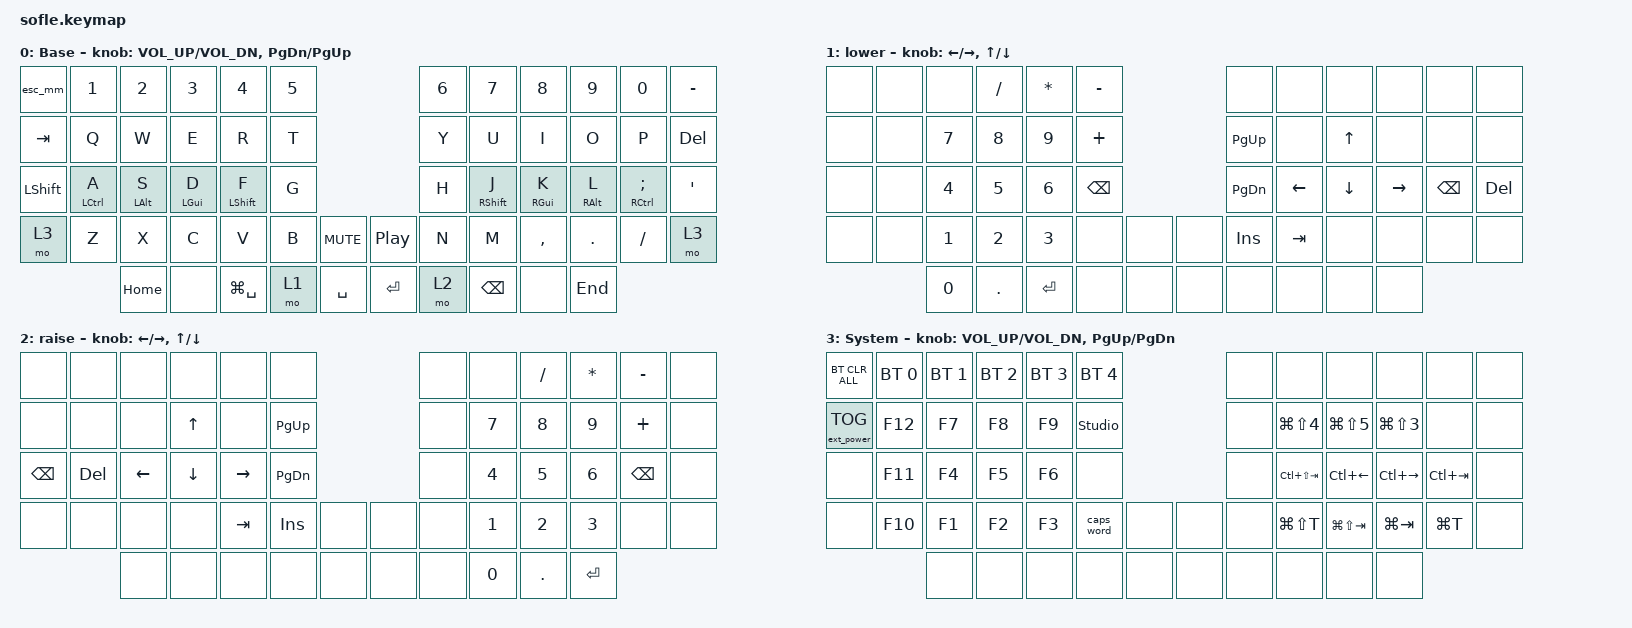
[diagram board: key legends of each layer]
/*
 * Copyright (c) 2020 The ZMK Contributors
 *
 * SPDX-License-Identifier: MIT
 */

#include <behaviors.dtsi>
#include <dt-bindings/zmk/bt.h>
#include <dt-bindings/zmk/ext_power.h>
#include <dt-bindings/zmk/keys.h>

#define BASE 0
#define LOWER 1
#define RAISE 2
#define ADJUST 3

/ {
    // Activate ADJUST layer by pressing raise and lower

    conditional_layers { compatible = "zmk,conditional-layers"; };

    combos {
        compatible = "zmk,combos";

        esc {
            bindings = <&kp ESCAPE>;
            key-positions = <14 15>;
            layers = <0>;
            require-prior-idle-ms = <50>;
        };

        tab {
            bindings = <&kp TAB>;
            key-positions = <26 27>;
            layers = <0>;
            require-prior-idle-ms = <50>;
        };

        at {
            bindings = <&kp AT_SIGN>;
            key-positions = <26 14>;
            layers = <0>;
            require-prior-idle-ms = <50>;
        };

        grave {
            bindings = <&kp GRAVE>;
            key-positions = <38 26>;
            require-prior-idle-ms = <50>;
            layers = <0>;
        };

        copy {
            bindings = <&kp LG(C)>;
            key-positions = <39 40>;
            require-prior-idle-ms = <50>;
            layers = <0>;
        };

        paste {
            bindings = <&kp LG(V)>;
            key-positions = <38 39>;
            layers = <0>;
            require-prior-idle-ms = <50>;
        };

        undo {
            bindings = <&kp LG(Z)>;
            key-positions = <37 38>;
            layers = <0>;
            require-prior-idle-ms = <50>;
        };

        backslash {
            bindings = <&kp BACKSLASH>;
            key-positions = <27 39>;
            require-prior-idle-ms = <50>;
            layers = <0>;
        };

        hash {
            bindings = <&kp HASH>;
            key-positions = <27 15>;
            require-prior-idle-ms = <50>;
            layers = <0>;
        };

        dollar {
            bindings = <&kp DOLLAR>;
            key-positions = <16 28>;
            require-prior-idle-ms = <50>;
            layers = <0>;
        };

        equal {
            bindings = <&kp EQUAL>;
            key-positions = <40 28>;
            require-prior-idle-ms = <50>;
            layers = <0>;
        };

        percent {
            bindings = <&kp PERCENT>;
            key-positions = <29 17>;
            require-prior-idle-ms = <50>;
            layers = <0>;
        };

        tilde {
            bindings = <&kp TILDE>;
            key-positions = <29 41>;
            require-prior-idle-ms = <50>;
            layers = <0>;
        };

        underscore {
            bindings = <&kp UNDERSCORE>;
            key-positions = <30 44>;
            require-prior-idle-ms = <50>;
            layers = <0>;
        };

        caret {
            bindings = <&kp CARET>;
            key-positions = <30 18>;
            require-prior-idle-ms = <50>;
            layers = <0>;
        };

        plus {
            bindings = <&kp PLUS>;
            key-positions = <19 31>;
            require-prior-idle-ms = <50>;
            layers = <0>;
        };

        minus {
            bindings = <&kp MINUS>;
            key-positions = <31 45>;
            require-prior-idle-ms = <50>;
            layers = <0>;
        };

        left_bracket {
            bindings = <&kp LEFT_BRACKET>;
            key-positions = <45 46>;
            require-prior-idle-ms = <50>;
            layers = <0>;
        };

        lpar_lt {
            bindings = <&lpar_lt>;
            key-positions = <31 32>;
            require-prior-idle-ms = <50>;
            layers = <0>;
        };

        bspc {
            bindings = <&kp BACKSPACE>;
            key-positions = <19 20>;
            require-prior-idle-ms = <50>;
            layers = <0>;
        };

        asterisk {
            bindings = <&kp ASTRK>;
            key-positions = <20 32>;
            require-prior-idle-ms = <50>;
            layers = <0>;
        };

        slash {
            bindings = <&kp SLASH>;
            key-positions = <32 46>;
            require-prior-idle-ms = <50>;
            layers = <0>;
        };

        rbracket {
            bindings = <&kp RIGHT_BRACKET>;
            key-positions = <46 47>;
            require-prior-idle-ms = <50>;
            layers = <0>;
        };

        rpar_gt {
            bindings = <&rpar_gt>;
            key-positions = <32 33>;
            require-prior-idle-ms = <50>;
            layers = <0>;
        };

        del {
            bindings = <&kp DEL>;
            key-positions = <20 21>;
            require-prior-idle-ms = <50>;
            layers = <0>;
        };

        amp {
            bindings = <&kp AMPERSAND>;
            key-positions = <21 33>;
            require-prior-idle-ms = <50>;
            layers = <0>;
        };

        pipe {
            bindings = <&kp PIPE>;
            key-positions = <33 47>;
            require-prior-idle-ms = <50>;
            layers = <0>;
        };

        all {
            bindings = <&kp LG(A)>;
            key-positions = <40 41>;
            require-prior-idle-ms = <50>;
            layers = <0>;
        };
    };

    behaviors {
        esc_mm: esc_mm {
            compatible = "zmk,behavior-mod-morph";
            label = "ESC_MM";
            bindings = <&kp ESCAPE>, <&mt TILDE GRAVE>;

            #binding-cells = <0>;
            mods = <(MOD_LSFT|MOD_RSFT)>;
        };

        hm: homerow_mods {
            compatible = "zmk,behavior-hold-tap";
            label = "homerow_mods";
            #binding-cells = <2>;
            bindings = <&kp>, <&kp>;

            tapping-term-ms = <200>;
            quick-tap-ms = <180>;
            flavor = "balanced";
        };

        lpar_lt: lpar_lt {
            compatible = "zmk,behavior-mod-morph";
            label = "LPAR_LT";
            bindings = <&kp LEFT_PARENTHESIS>, <&kp LESS_THAN>;

            #binding-cells = <0>;
            mods = <(MOD_LSFT)>;
        };

        rpar_gt: rpar_gt {
            compatible = "zmk,behavior-mod-morph";
            label = "RPAR_GT";
            bindings = <&kp RIGHT_PARENTHESIS>, <&kp GREATER_THAN>;

            #binding-cells = <0>;
            mods = <(MOD_LSFT)>;
        };
    };

    keymap {
        compatible = "zmk,keymap";

        default_layer {
            display-name = "Base";

            // ------------------------------------------------------------------------------------------------------------
            // |   `   |  1  |  2  |  3   |  4   |  5   |                   |  6   |  7    |  8    |  9   |   0   |       |
            // |  ESC  |  Q  |  W  |  E   |  R   |  T   |                   |  Y   |  U    |  I    |  O   |   P   | BKSPC |
            // |  TAB  |  A  |  S  |  D   |  F   |  G   |                   |  H   |  J    |  K    |  L   |   ;   |   '   |
            // | SHIFT |  Z  |  X  |  C   |  V   |  B   |  MUTE  |  |       |  N   |  M    |  ,    |  .   |   /   | SHIFT |
            //               | GUI | ALT  | CTRL | LOWER|  ENTER |  | SPACE | RAISE| CTRL  | ALT   | GUI  |

            bindings = <
&esc_mm         &kp N1              &kp N2          &kp N3          &kp N4            &kp N5                                  &kp N6  &kp N7             &kp N8           &kp N9           &kp N0                       &kp MINUS
&kp TAB         &kp Q               &kp W           &kp E           &kp R             &kp T                                   &kp Y   &kp U              &kp I            &kp O            &kp P                        &kp DEL
&kp LEFT_SHIFT  &hm LEFT_CONTROL A  &hm LEFT_ALT S  &hm LEFT_GUI D  &hm LEFT_SHIFT F  &kp G                                   &kp H   &hm RIGHT_SHIFT J  &hm RIGHT_GUI K  &hm RIGHT_ALT L  &hm RIGHT_CONTROL SEMICOLON  &kp SQT
&mo 3           &kp Z               &kp X           &kp C           &kp V             &kp B   &kp C_MUTE    &kp C_PLAY_PAUSE  &kp N   &kp M              &kp COMMA        &kp DOT          &kp FSLH                     &mo 3
                                    &kp HOME        &none           &kp LG(SPACE)     &mo 1   &kp SPACE     &kp ENTER         &mo 2   &kp BACKSPACE      &none            &kp END
            >;

            sensor-bindings =
                <&inc_dec_kp C_VOL_UP C_VOL_DN>,
                <&inc_dec_kp PG_DN PG_UP>;
        };

        lower_layer {
            display-name = "lower";

            // TODO: Some binds are waiting for shifted keycode support.
            // ------------------------------------------------------------------------------------------------------------
            // |       |  F1 |  F2 |  F3  |  F4  |  F5  |                   |  F6  |  F7   |  F8   |  F9  |  F10  |  F11  |
            // |   `   |  1  |  2  |  3   |  4   |  5   |                   |  6   |  7    |  8    |  9   |   0   |  F12  |
            // |       |  !  |  @  |  #   |  $   |  %   |                   |  ^   |  &    |  *    |  (   |   )   |   |   |
            // |       |  =  |  -  |  +   |  {   |  }   |        |  |       |  [   |  ]    |  ;    |  :   |   \   |       |
            //               |     |      |      |      |        |  |       |      |       |       |      |

            bindings = <
&none  &none  &none         &kp FSLH      &kp ASTERISK  &kp MINUS                      &none          &none     &none         &none      &none          &none
&none  &none  &kp N7        &kp N8        &kp N9        &kp PLUS                       &kp PAGE_UP    &none     &kp UP_ARROW  &none      &none          &none
&none  &none  &kp NUMBER_4  &kp N5        &kp NUMBER_6  &kp BACKSPACE                  &kp PAGE_DOWN  &kp LEFT  &kp DOWN      &kp RIGHT  &kp BACKSPACE  &kp DELETE
&none  &none  &kp NUMBER_1  &kp NUMBER_2  &kp NUMBER_3  &none          &none    &none  &kp INS        &kp TAB   &none         &none      &none          &none
              &kp N0        &kp PERIOD    &kp ENTER     &none          &none    &none  &none          &none     &none         &none
            >;

            sensor-bindings =
                <&inc_dec_kp LEFT_ARROW RIGHT_ARROW>,
                <&inc_dec_kp UP_ARROW DOWN_ARROW>;
        };

        raise_layer {
            display-name = "raise";
            bindings = <
&none          &none       &none     &none         &none      &none                          &none  &none         &kp SLASH     &kp ASTERISK  &kp MINUS      &none
&none          &none       &none     &kp UP_ARROW  &none      &kp PAGE_UP                    &none  &kp N7        &kp N8        &kp N9        &kp PLUS       &none
&kp BACKSPACE  &kp DELETE  &kp LEFT  &kp DOWN      &kp RIGHT  &kp PAGE_DOWN                  &none  &kp NUMBER_4  &kp N5        &kp NUMBER_6  &kp BACKSPACE  &none
&none          &none       &none     &none         &kp TAB    &kp INS        &none    &none  &none  &kp NUMBER_1  &kp NUMBER_2  &kp NUMBER_3  &none          &none
                           &none     &none         &none      &none          &none    &none  &none  &kp N0        &kp PERIOD    &kp ENTER
            >;

            sensor-bindings =
                <&inc_dec_kp LEFT_ARROW RIGHT_ARROW>,
                <&inc_dec_kp UP_ARROW DOWN_ARROW>;
        };

        adjust_layer {
            // ----------------------------------------------------------------------------------------------------------------------------
            // | BTCLR  |  BT1    |  BT2    |   BT3   |   BT4   |   BT5   |                  |      |      |       |      |       |       |
            // | EXTPWR | RGB_HUD | RGB_HUI | RGB_SAD | RGB_SAI | RGB_EFF |                  |      |      |       |      |       |       |
            // |        | RGB_BRD | RGB_BRI |         |         |         |                  |      |      |       |      |       |       |
            // |        |         |         |         |         |         | RGB_TOG | |      |      |      |       |      |       |       |
            //                    |         |         |         |         |         | |      |      |      |       |      |

            display-name = "System";
            bindings = <
&bt BT_CLR_ALL     &bt BT_SEL 0  &bt BT_SEL 1  &bt BT_SEL 2  &bt BT_SEL 3  &bt BT_SEL 4                    &none  &none                 &none            &none                 &none        &none
&ext_power EP_TOG  &kp F12       &kp F7        &kp F8        &kp F9        &studio_unlock                  &none  &kp LG(LS(NUMBER_4))  &kp LG(LS(N5))   &kp LG(LS(NUMBER_3))  &none        &none
&none              &kp F11       &kp F4        &kp F5        &kp F6        &none                           &none  &kp LC(LS(TAB))       &kp LC(LEFT)     &kp LC(RIGHT)         &kp LC(TAB)  &none
&none              &kp F10       &kp F1        &kp F2        &kp F3        &caps_word      &none    &none  &none  &kp LG(LS(T))         &kp LG(LS(TAB))  &kp LG(TAB)           &kp LG(T)    &none
                                 &none         &none         &none         &none           &none    &none  &none  &none                 &none            &none
            >;

            sensor-bindings = <&inc_dec_kp C_VOL_UP C_VOL_DN &inc_dec_kp PG_UP PG_DN>;
        };
    };
};
